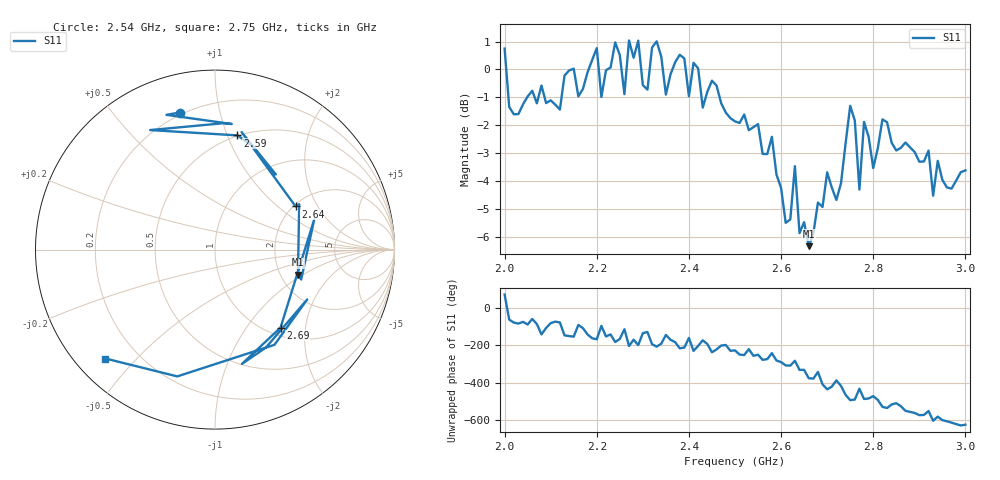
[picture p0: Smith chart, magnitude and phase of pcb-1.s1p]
# HZ S RI R 50
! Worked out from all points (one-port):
!   101 points, 2 GHz to 3 GHz, reference 50 ohm
!   lowest |S11| = -6.3 dB at 2.66 GHz (marker M1), VSWR 2.87, Z = 124 - j45.3 ohm
!   |S11| at or under -10 dB: nowhere
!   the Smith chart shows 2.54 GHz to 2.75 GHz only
!   S11 on the Smith chart (normalised r, x): 2.54 GHz: 0.19, +0.76; 2.59 GHz: 0.50, +1.09; 2.64 GHz: 2.05, +1.33; 2.69 GHz: 1.15, -1.47; 2.75 GHz: 0.09, -0.41
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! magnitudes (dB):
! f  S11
! 2 GHz  0.7
! 2.02 GHz  -1.6
! 2.13 GHz  -0.2
! 2.25 GHz  0.5
! 2.26 GHz  -0.9
! 2.27 GHz  1.0
! 2.29 GHz  1.0
! 2.31 GHz  -0.7
! 2.33 GHz  1.0
! 2.35 GHz  -0.9
! 2.38 GHz  0.5
! 2.5 GHz  -1.9
! 2.54 GHz  -2.1
! 2.59 GHz  -3.8
! 2.61 GHz  -5.5
! 2.63 GHz  -3.5
! 2.64 GHz  -5.9
! 2.66 GHz  -6.3
! 2.69 GHz  -4.9
! 2.73 GHz  -4.1
! 2.75 GHz  -1.3
! 2.77 GHz  -4.3
! 2.78 GHz  -1.9
! 2.8 GHz  -3.5
! 2.82 GHz  -1.8
! 2.88 GHz  -2.8
! 2.93 GHz  -4.5
! 3 GHz  -3.6
